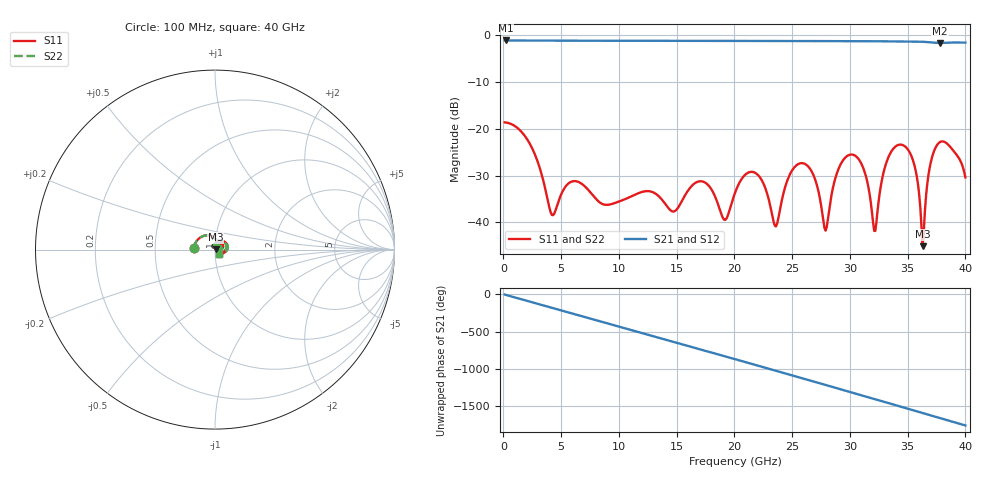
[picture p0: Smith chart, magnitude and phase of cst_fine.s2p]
! T_vna6_cpwg_20: Coplanar waveguide with ground, LibreVNA RF class (w 0.35, gap 0.18 mm), 20 mm
! stackup: LibreVNA 6-layer (7628 / FR-4, from the board file)
! ports: 1 near A, 2 far A
! CST Studio Suite 2025.5 Release from 2025-05-30, time domain (FIT, hexahedral, PBA), 988416 mesh cells, 151 s
! mesh: {'lpw': 30.0, 'lpb': 30.0, 'minstep': 0.0, 'ratio': 20}; ports: port 1 (face); port 2 (face)
! interpolated from CST's 1001 samples to the case grid
# Hz S RI R 50
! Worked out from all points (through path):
!   400 points, 100 MHz to 40 GHz, reference 50 ohm
!   highest |S21| = -1.08 dB at 200 MHz (marker M1); lowest = -1.6 dB at 37.8 GHz (marker M2)
!   group delay of S21, straight-line fit = 122 ps
!   lowest |S11| = -45.1 dB at 36.3 GHz (marker M3), VSWR 1.01, Z = 50.5 + j0.172 ohm
!   |S11| at or under -10 dB: start of sweep to end of sweep
!   |S22| runs from -45.1 to -18.6 dB; largest |S21 - S12| = 4.1e-07
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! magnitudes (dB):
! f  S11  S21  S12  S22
! 100 MHz  -18.6  -1.1  -1.1  -18.6
! 200 MHz  -18.6  -1.1  -1.1  -18.6
! 4.2 GHz  -38.4  -1.1  -1.1  -38.4
! 6.8 GHz  -31.8  -1.1  -1.1  -31.8
! 13.4 GHz  -34.3  -1.2  -1.2  -34.3
! 17.3 GHz  -31.3  -1.2  -1.2  -31.3
! 19.2 GHz  -39.5  -1.2  -1.2  -39.5
! 20.1 GHz  -33.4  -1.2  -1.2  -33.4
! 22 GHz  -29.8  -1.2  -1.2  -29.8
! 23.6 GHz  -40.9  -1.2  -1.2  -40.9
! 25 GHz  -28.9  -1.2  -1.2  -28.9
! 26.7 GHz  -29.2  -1.2  -1.2  -29.2
! 27.9 GHz  -41.8  -1.2  -1.2  -41.8
! 29 GHz  -28.7  -1.2  -1.2  -28.7
! 30.6 GHz  -26.1  -1.3  -1.3  -26.1
! 32.2 GHz  -41.9  -1.2  -1.2  -41.9
! 33.4 GHz  -25.7  -1.3  -1.3  -25.7
! 35.4 GHz  -26.3  -1.3  -1.3  -26.3
! 36.3 GHz  -45.1  -1.4  -1.4  -45.1
! 36.8 GHz  -29.9  -1.5  -1.5  -29.9
! 37.8 GHz  -22.8  -1.6  -1.6  -22.8
! 40 GHz  -30.4  -1.5  -1.5  -30.4
